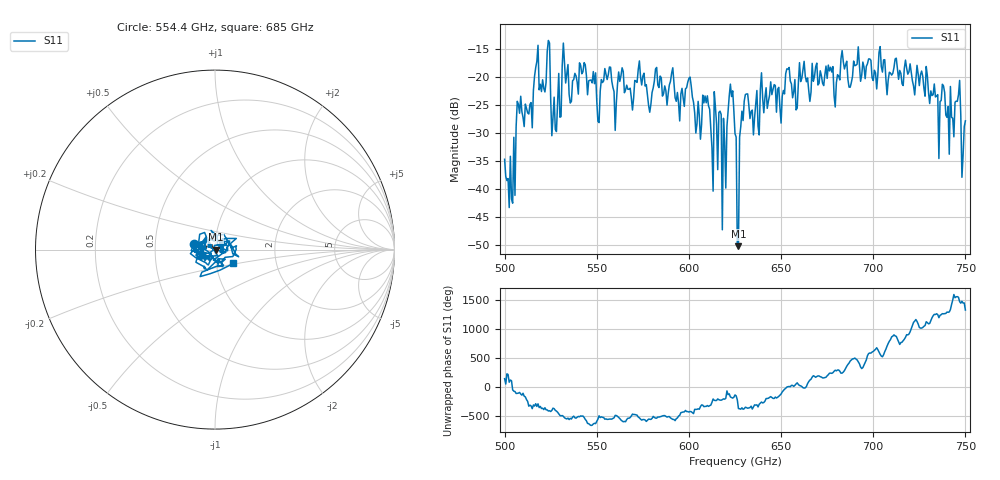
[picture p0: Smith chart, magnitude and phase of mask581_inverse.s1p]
!Created with skrf (http://scikit-rf.org).
# GHz S MA R 50.0
!freq magS11 angS11
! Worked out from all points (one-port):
!   401 points, 500 GHz to 750 GHz, reference 50 ohm
!   lowest |S11| = -50.1 dB at 626.9 GHz (marker M1), VSWR 1.01, Z = 50.3 - j0.0584 ohm
!   |S11| at or under -10 dB: start of sweep to end of sweep
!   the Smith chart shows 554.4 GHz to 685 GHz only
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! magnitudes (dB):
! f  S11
! 500 GHz  -34.7
! 503.1 GHz  -34.1
! 507.5 GHz  -24.9
! 513.8 GHz  -24.9
! 516.9 GHz  -18.3
! 523.8 GHz  -13.5
! 526.9 GHz  -23.6
! 531.2 GHz  -18.0
! 542.5 GHz  -19.1
! 551.2 GHz  -28.1
! 562.5 GHz  -20.8
! 590.6 GHz  -19.3
! 593.8 GHz  -22.8
! 600 GHz  -20.3
! 605 GHz  -24.3
! 608.8 GHz  -23.4
! 619.4 GHz  -31.5
! 623.1 GHz  -23.5
! 625 GHz  -30.1
! 626.9 GHz  -50.1
! 628.8 GHz  -26.1
! 631.2 GHz  -23.0
! 656.2 GHz  -23.7
! 687.5 GHz  -21.8
! 718.8 GHz  -19.5
! 742.5 GHz  -27.2
! 745.6 GHz  -24.3
! 750 GHz  -27.8
